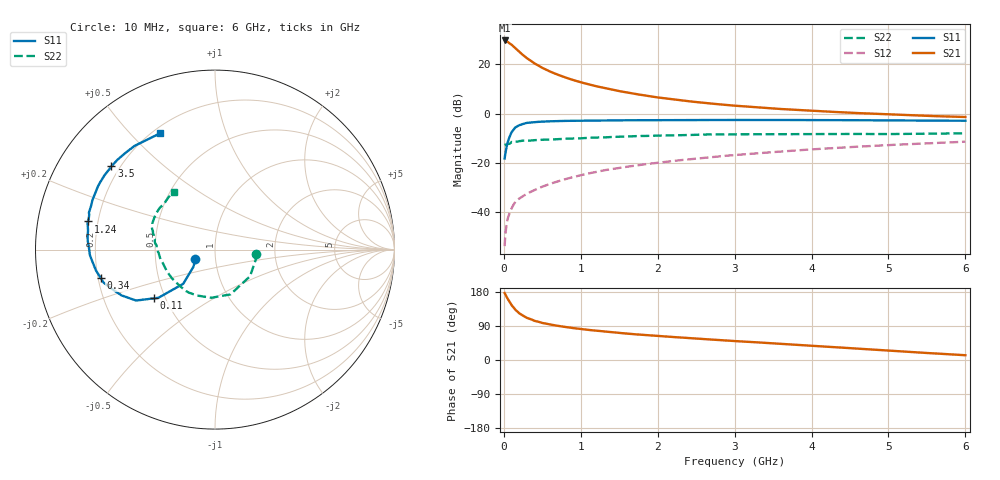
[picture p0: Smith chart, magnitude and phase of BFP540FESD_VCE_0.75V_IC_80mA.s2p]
! Infineon Technologies  Discrete & RF Semiconductors
! BFP540FESD
! VCE = 0.75 V,  IC =  80 mA
! Common Emitter S-Parameters:  Nov 2015
# GHz  S  MA  R  50
!  f  S11  S21  S12  S22
! GHz  MAG  ANG  MAG  ANG  MAG  ANG  MAG  ANG
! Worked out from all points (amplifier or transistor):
!   210 points, 10 MHz to 6 GHz, reference 50 ohm
!   highest |S21| = 29.8 dB at 10 MHz (marker M1)
!   |S21| within 3 dB of that: start of sweep to 144.7 MHz
!   unconditionally stable (mu >= 1): start of sweep to end of sweep
!   at 185 MHz: K = 1.09, MAG = 28.5 dB, |S12| = -35.0 dB
!   at 1.52 GHz: K = 1.26, MAG = 12.5 dB, |S12| = -22.0 dB
!   at 6 GHz: K = 1.27, MAG = 1.9 dB, |S12| = -11.4 dB
!   S11 on the Smith chart (normalised r, x): 10 MHz: 0.80, -0.09; 110 MHz: 0.43, -0.29; 340 MHz: 0.21, -0.12; 1.24 GHz: 0.16, +0.11; 3.5 GHz: 0.17, +0.34; 6 GHz: 0.23, +0.61
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0.01  0.1222 -153.3  30.82 176.7  0.002 59.4  0.2284 -5.8
0.02  0.1545 -141.3  29.38 172.6  0.0035 67.2  0.2346 -11.7
0.05  0.2602 -132.9  28.91 161.4  0.0072 66.5  0.2454 -37.2
0.1  0.4145 -139.6  25.29 144.7  0.0118 64.8  0.2641 -71.0
0.11  0.4356 -141.4  24.44 142.5  0.0126 64.0  0.2615 -75.7
0.15  0.5235 -147.2  21.46 132.3  0.016 61.6  0.2691 -94.4
0.2  0.5793 -153.8  18.14 123.2  0.0186 60.1  0.2751 -111.7
0.26  0.6227 -160.3  15.05 115.5  0.0214 59.5  0.2822 -125.5
0.3  0.6473 -163.5  13.41 111.1  0.0233 58.8  0.2817 -132.5
0.34  0.6567 -166.2  12.21 108.4  0.0251 59.8  0.2823 -137.9
0.4  0.6734 -170.1  10.47 103.3  0.0278 61.0  0.2879 -145.8
0.5  0.6871 -174.4  8.529 97.8  0.0325 61.1  0.2939 -155.1
0.6  0.6978 -177.6  7.174 93.7  0.0371 61.9  0.2967 -161.3
0.8  0.7106 176.2  5.417 87.0  0.0464 63.5  0.3087 -170.2
1.02  0.7155 171.4  4.257 81.3  0.0567 63.4  0.3153 -177.1
1.24  0.7249 167.5  3.498 76.6  0.0668 62.6  0.3253 177.6
2.02  0.7372 156.3  2.114 63.1  0.1006 58.7  0.3566 165.6
3.1  0.7413 145.2  1.412 48.9  0.1474 51.6  0.379 156.7
3.5  0.7406 141.2  1.266 43.8  0.1644 48.3  0.3815 153.5
4.1  0.7375 136.4  1.121 36.3  0.191 43.4  0.385 147.3
5.1  0.7281 126.4  0.953 23.5  0.2324 33.4  0.3841 135.9
6  0.7162 115.3  0.853 12.6  0.2677 24.5  0.3967 125.6
